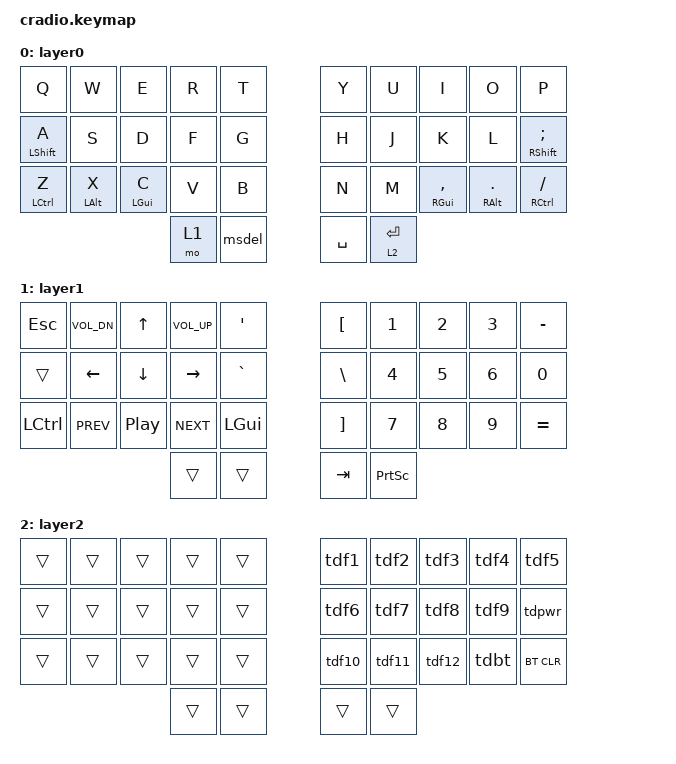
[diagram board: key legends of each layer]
  /*
  * Copyright (c) 2020 The ZMK Contributors
  *
  * SPDX-License-Identifier: MIT
  */

  #include <behaviors.dtsi>
  #include <dt-bindings/zmk/keys.h>
  #include <dt-bindings/zmk/bt.h>
  #include <dt-bindings/zmk/ext_power.h>

/ {
    behaviors {
        tdf1: tap_dance_f1 {
            compatible = "zmk,behavior-tap-dance";
            #binding-cells = <0>;
            tapping-term-ms = <115>;
            bindings = <&kp F1>, <&kp LC(LA(F1))>;
        };
        tdf2: tap_dance_f2 {
            compatible = "zmk,behavior-tap-dance";
            #binding-cells = <0>;
            tapping-term-ms = <115>;
            bindings = <&kp F1>, <&kp LC(LA(F2))>;
        };
        tdf3: tap_dance_f3 {
            compatible = "zmk,behavior-tap-dance";
            #binding-cells = <0>;
            tapping-term-ms = <115>;
            bindings = <&kp F3>, <&kp LC(LA(F3))>;
        };
        tdf4: tap_dance_f4 {
            compatible = "zmk,behavior-tap-dance";
            #binding-cells = <0>;
            tapping-term-ms = <115>;
            bindings = <&kp F4>, <&kp LC(LA(F4))>;
        };
        tdf5: tap_dance_f5 {
            compatible = "zmk,behavior-tap-dance";
            #binding-cells = <0>;
            tapping-term-ms = <115>;
            bindings = <&kp F5>, <&kp LC(LA(F5))>;
        };
        tdf6: tap_dance_f6 {
            compatible = "zmk,behavior-tap-dance";
            #binding-cells = <0>;
            tapping-term-ms = <115>;
            bindings = <&kp F6>, <&kp LC(LA(F6))>;
        };
        tdf7: tap_dance_f7 {
            compatible = "zmk,behavior-tap-dance";
            #binding-cells = <0>;
            tapping-term-ms = <115>;
            bindings = <&kp F7>, <&kp LC(LA(F7))>;
        };
        tdf8: tap_dance_f8 {
            compatible = "zmk,behavior-tap-dance";
            #binding-cells = <0>;
            tapping-term-ms = <115>;
            bindings = <&kp F8>, <&kp LC(LA(F8))>;
        };
        tdf9: tap_dance_f9 {
            compatible = "zmk,behavior-tap-dance";
            #binding-cells = <0>;
            tapping-term-ms = <115>;
            bindings = <&kp F9>, <&kp LC(LA(F9))>;
        };
        tdf10: tap_dance_f10 {
            compatible = "zmk,behavior-tap-dance";
            #binding-cells = <0>;
            tapping-term-ms = <115>;
            bindings = <&kp F10>, <&kp LC(LA(F10))>;
        };
        tdf11: tap_dance_f11 {
            compatible = "zmk,behavior-tap-dance";
            #binding-cells = <0>;
            tapping-term-ms = <115>;
            bindings = <&kp F11>, <&kp LC(LA(F11))>;
        };
        tdf12: tap_dance_f12 {
            compatible = "zmk,behavior-tap-dance";
            #binding-cells = <0>;
            tapping-term-ms = <115>;
            bindings = <&kp F12>, <&kp LC(LA(F12))>;
        };
        tdbt: tap_dance_bluetooth {
            compatible = "zmk,behavior-tap-dance";
            #binding-cells = <0>;
            tapping-term-ms = <115>;
            bindings = <&bt BT_SEL 0>, <&bt BT_SEL 1>, <&bt BT_SEL 2>, <&bt BT_SEL 3>, <&bt BT_SEL 4>;
        };
        tdpwr: tap_dance_power {
            compatible = "zmk,behavior-tap-dance";
            #binding-cells = <0>;
            tapping-term-ms = <115>;
            bindings = <&kp C_PWR>;
        };
        msdel: shift_delete {
            compatible = "zmk,behavior-mod-morph";
            #binding-cells = <0>;
            bindings = <&kp BSPC>, <&kp DEL>;
            mods = <(MOD_LSFT)>;
        };
    };
};

&mt {
  tapping-term-ms = <125>;
};

&lt {
  tapping-term-ms = <125>;  
};

  / {
    keymap {
      compatible = "zmk,keymap";
  layer0 {
          bindings = <
          &kp Q         &kp W         &kp E          &kp R          &kp T                      &kp Y          &kp U          &kp I          &kp O          &kp P 
          &mt LSHFT A   &kp S         &kp D          &kp F          &kp G                      &kp H          &kp J          &kp K          &kp L          &mt RSHFT SEMI
          &mt LCTRL Z   &mt LALT X    &mt LGUI C     &kp V          &kp B                      &kp N          &kp M          &mt RGUI COMMA &mt RALT DOT   &mt RCTRL FSLH 
                                                     &mo 1          &msdel                     &kp SPACE      &lt 2 ENTER
          >;
        };
  layer1 {
          bindings = <
          &kp ESCAPE  &kp C_VOL_DN &kp UP      &kp C_VOL_UP &kp SQT                   &kp LBKT     &kp N1       &kp N2       &kp N3       &kp MINUS 
          &trans      &kp LEFT     &kp DOWN    &kp RIGHT    &kp GRAVE                 &kp BSLH     &kp N4       &kp N5       &kp N6       &kp N0 
          &kp LCTRL   &kp C_PREV   &kp C_PP    &kp C_NEXT   &kp LGUI                  &kp RBKT     &kp N7       &kp N8       &kp N9       &kp EQUAL
                                               &trans       &trans                    &kp TAB      &kp PSCRN
          >;
        };
  layer2 {
          bindings = < 
          &trans &trans &trans &trans &trans            &tdf1  &tdf2  &tdf3  &tdf4 &tdf5
          &trans &trans &trans &trans &trans            &tdf6  &tdf7  &tdf8  &tdf9 &tdpwr
          &trans &trans &trans &trans &trans            &tdf10 &tdf11 &tdf12 &tdbt &bt BT_CLR 
                               &trans &trans            &trans &trans
          >;
        };
    };
  };
